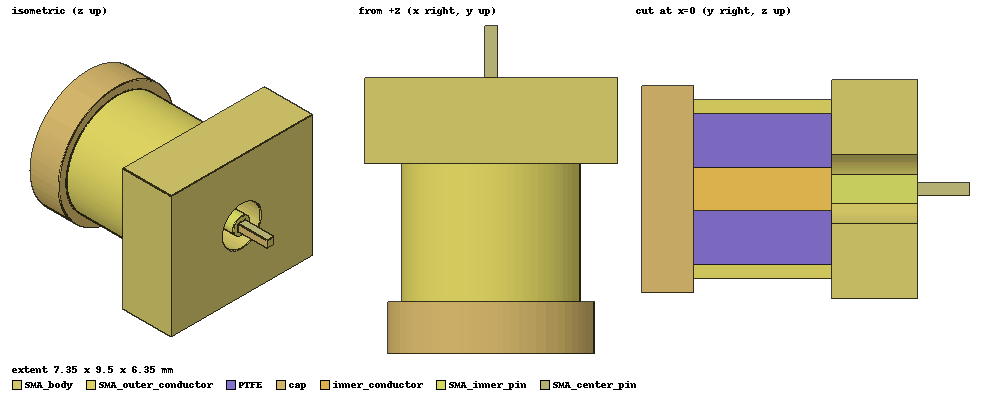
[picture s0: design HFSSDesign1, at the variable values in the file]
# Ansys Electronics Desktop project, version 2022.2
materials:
  vacuum: permittivity=1
  pec: conductivity=1e+30
  glass_PTFEreinf: permittivity=2.5 dielectric_loss_tangent=0.002
  perfect conductor: conductivity=1e+30

design HFSSDesign1 (HFSS, DrivenModal, model units mm)
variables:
  SX = 7.35mm
  SY = 2.5mm
  SZ = 6.35mm
  pinD = 0.36mm
  pinL = 1.5mm
  in = 0.43mm
  OutD = 2.6mm
  OutL = -4mm
  innerD = 0.63mm
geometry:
  SMA_body [pec] = box(corner=(-SX/2, 0mm, 0mm), size=(SX, SY, SZ))
  coordinate_system RelativeCS1 = origin=(3.675mm, 2.5mm, 0mm) x=(1mm, 0mm, 0mm) y=(0mm, 1mm, 0mm)
  coordinate_system RelativeCS2 = origin=(-7.35mm, 0mm, 0mm) x=(1mm, 0mm, 0mm) y=(0mm, 1mm, 0mm) in RelativeCS1
  coordinate_system RelativeCS3 = origin=(3.675mm, 0mm, 3.175mm) x=(1mm, 0mm, 0mm) y=(0mm, 1mm, 0mm) in RelativeCS2
  SMA_center_pin [pec] = box(corner=(-pinD/2, 0mm, -pinD/2), size=(pinD, pinL, pinD)) in RelativeCS3
  SMA_dielectric = cylinder(axis=Y, base_centre=(0mm, 0mm, 0mm), radius=1mm, height=-SY) in RelativeCS3
  SMA_body.subtract(SMA_dielectric)
  SMA_inner_pin [pec] = cylinder(axis=Y, base_centre=(0mm, 0mm, 0mm), radius=in, height=-SY) in RelativeCS3
  coordinate_system Out_coor_sys = origin=(0mm, -SY, 0mm) x=(1mm, 0mm, 0mm) y=(0mm, 1mm, 0mm) in RelativeCS3
  SMA_outer_conductor [pec] = cylinder(axis=Y, base_centre=(0mm, 0mm, 0mm), radius=OutD, height=OutL) in Out_coor_sys
  PTFE [glass_PTFEreinf] = cylinder(axis=Y, base_centre=(0mm, 0mm, 0mm), radius=2.2mm, height=OutL) in Out_coor_sys
  PTFE_1 = PTFE.copy()
  SMA_outer_conductor.subtract(PTFE_1)
  inner_conductor [pec] = cylinder(axis=Y, base_centre=(0mm, 0mm, 0mm), radius=innerD, height=OutL) in Out_coor_sys
  inner_conductor_1 = inner_conductor.copy()
  PTFE.subtract(inner_conductor_1)
  coordinate_system RelativeCS4 = origin=(0mm, OutL, 0mm) x=(1mm, 0mm, 0mm) y=(0mm, 1mm, 0mm) in Out_coor_sys
  cap [pec] = cylinder(axis=Y, base_centre=(0mm, 0mm, 0mm), radius=3mm, height=-1.5mm) in RelativeCS4
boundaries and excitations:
  1: Wave Port Faces=PTFE.face(2 of 3) NumModes=1 Modes{Mode1{IntLine{(0, -4, 5.375) -> (0, -4, 3.805)} CharImp=Zpi}}
  reference conductors: SMA_outer_conductor, cap
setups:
  Setup1: HfssDriven Frequency=5GHz MaxDeltaS=0.02 MaximumPasses=6 MinimumPasses=1 MinimumConvergedPasses=1 PercentRefinement=30 BasisOrder=1 PortAccuracy=2 DrivenSolverType="Direct Solver"
    sweep Sweep: 2.5GHz to 7.5GHz, 401 points; Type=Interpolating InterpTolerance=0.5 InterpMaxSolns=250 InterpUsePortImped=false PassivityErrorTolerance=0.0001
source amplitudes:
  1:1: 1W 0deg
